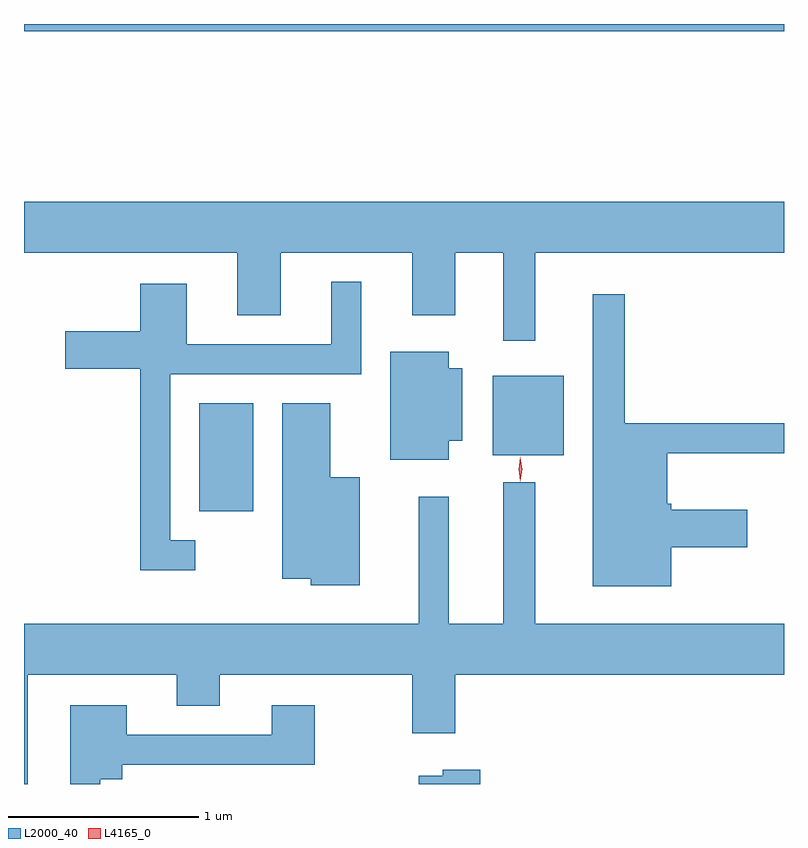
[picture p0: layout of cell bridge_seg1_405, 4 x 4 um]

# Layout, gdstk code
import gdstk
lib = gdstk.Library(unit=1e-6, precision=1e-09)
def R(c, l, rs):  # rectangles x0, y0, x1, y1
    for r in rs: c.add(gdstk.rectangle(r[:2], r[2:], *l))
def P(c, l, *ps):  # polygons
    for p in ps: c.add(gdstk.Polygon(p, *l))
L2000_40 = (2000, 40)
L4165_0 = (4165, 0)

bridge_seg1_405 = lib.new_cell('bridge_seg1_405')
R(bridge_seg1_405, L2000_40, [(343.251,951.496,343.534,952.064), (344.796,951.791,345.169,952.209), (342.328,954.021,346.328,954.06)])
P(bridge_seg1_405, L2000_40, [(345.019,952.856),(346.328,952.856),(346.328,953.124),(342.328,953.124),(342.328,952.856),(343.451,952.856),(343.451,952.526),(343.679,952.526),(343.679,952.856),(344.371,952.856),(344.371,952.526),(344.599,952.526),(344.599,952.856),(344.851,952.856),(344.851,952.393),(345.019,952.393)],
  [(343.228,951.344),(343.099,951.344),(343.099,952.216),(344.104,952.216),(344.104,952.703),(343.946,952.703),(343.946,952.374),(343.184,952.374),(343.184,952.694),(342.941,952.694),(342.941,952.444),(342.546,952.444),(342.546,952.246),(342.941,952.246),(342.941,951.186),(343.228,951.186)],
  [(345.734,951.306),(346.134,951.306),(346.134,951.504),(345.734,951.504),(345.734,951.534),(345.714,951.534),(345.714,951.801),(346.328,951.801),(346.328,951.959),(345.489,951.959),(345.489,952.638),(345.321,952.638),(345.321,951.101),(345.734,951.101)],
  [(344.564,951.866),(344.634,951.866),(344.634,952.249),(344.564,952.249),(344.564,952.334),(344.256,952.334),(344.256,951.766),(344.564,951.766)],
  [(344.094,951.674),(343.939,951.674),(343.939,952.064),(343.686,952.064),(343.686,951.141),(343.836,951.141),(343.836,951.106),(344.094,951.106)],
  [(346.328,950.904),(345.019,950.904),(345.019,951.648),(344.851,951.648),(344.851,950.904),(344.564,950.904),(344.564,951.573),(344.406,951.573),(344.406,950.904),(342.328,950.904),(342.328,950.06),(342.349,950.06),(342.349,950.636),(343.131,950.636),(343.131,950.471),(343.359,950.471),(343.359,950.636),(344.371,950.636),(344.371,950.326),(344.599,950.326),(344.599,950.636),(346.328,950.636)],
  [(342.729,950.086),(342.844,950.086),(342.844,950.161),(343.859,950.161),(343.859,950.474),(343.631,950.474),(343.631,950.319),(342.869,950.319),(342.869,950.474),(342.571,950.474),(342.571,950.06),(342.729,950.06)],
  [(344.729,950.134),(344.531,950.134),(344.531,950.104),(344.406,950.104),(344.406,950.06),(344.729,950.06)])
P(bridge_seg1_405, L4165_0, [(344.94,951.653),(344.931,951.717),(344.94,951.781),(344.941,951.782),(344.941,951.781),(344.951,951.717),(344.941,951.653),(344.941,951.653)])

lib.write_gds('bridge_seg1_405.gds')
